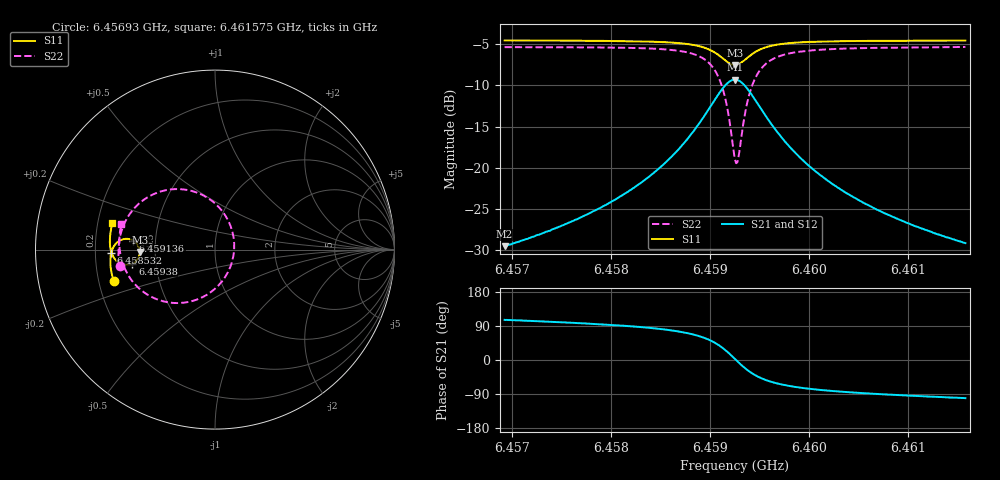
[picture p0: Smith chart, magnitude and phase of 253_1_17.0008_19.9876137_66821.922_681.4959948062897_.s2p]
#  HZ  S  RI  R  50.00
! Rohde & Schwarz Vector Network Analyzer
! Rohde-Schwarz,ZNB20-2Port,1311601062101988,3.16
! Created: UTC 3/20/2024, 11:03:21 PM
! freq[Hz]  re:S11  im:S11  re:S21  im:S21  re:S12  im:S12  re:S22  im:S22
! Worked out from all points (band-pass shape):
!   401 points, 6.45693 GHz to 6.461575 GHz, reference 50 ohm
!   highest |S21| = -9.30 dB at 6.459252 GHz (marker M1); lowest = -29.5 dB at 6.45693 GHz (marker M2)
!   |S21| within 3 dB of the highest: 6.45902 GHz to 6.459484 GHz (464.9 kHz wide, 0.0072 % of centre)
!   lowest |S11| = -7.5 dB at 6.459252 GHz (marker M3), VSWR 2.45, Z = 20.5 - j0.622 ohm
!   |S11| at or under -10 dB: nowhere
!   |S22| runs from -19.4 to -5.3 dB; largest |S21 - S12| = 0.014
!   S11 on the Smith chart (normalised r, x): 6.45693 GHz: 0.26, -0.14; 6.458532 GHz: 0.27, -0.01; 6.459136 GHz: 0.37, +0.05; 6.45938 GHz: 0.37, -0.07; 6.461575 GHz: 0.26, +0.12
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6.4569295e9  -0.5652 -0.1767  -0.00916 0.0322  -0.00738 0.0321  -0.5313 -0.0931
6.4577077e9  -0.5799 -0.109  -0.00606 0.05  -0.00356 0.0494  -0.538 -0.00243
6.4581258e9  -0.5832 -0.0673  -0.000368 0.0688  0.00281 0.0673  -0.531 0.0631
6.4584858e9  -0.5797 -0.0246  0.0134 0.0981  0.0173 0.0955  -0.506 0.1432
6.4585323e9  -0.5783 -0.0183  0.0167 0.1035  0.0208 0.1008  -0.4997 0.1565
6.4587414e9  -0.5662 0.0136  0.0426 0.1352  0.0467 0.1305  -0.4515 0.2281
6.4588923e9  -0.5452 0.04  0.0849 0.1655  0.0882 0.159  -0.3734 0.2927
6.4590433e9  -0.4993 0.0597  0.1761 0.1848  0.1773 0.1775  -0.2065 0.3371
6.4591362e9  -0.4551 0.0497  0.2657 0.1541  0.266 0.1482  -0.0406 0.2879
6.4591827e9  -0.434 0.0311  0.3092 0.1116  0.3105 0.1065  0.0419 0.2123
6.4592524e9  -0.4193 -0.0125  0.3425 0.0156  0.3462 0.00876  0.1069 0.0341
6.459264e9  -0.4197 -0.0205  0.3423 -0.00194  0.3461 -0.00955  0.1066 0.000732
6.4592872e9  -0.4231 -0.0359  0.337 -0.0365  0.3408 -0.0454  0.0958 -0.0644
6.4593337e9  -0.4386 -0.0618  0.3088 -0.0958  0.311 -0.1076  0.0392 -0.1768
6.4593801e9  -0.4603 -0.0779  0.2674 -0.1368  0.2666 -0.1498  -0.0447 -0.2513
6.4594731e9  -0.5033 -0.0847  0.1835 -0.168  0.1775 -0.1793  -0.2119 -0.2978
6.459624e9  -0.5468 -0.0644  0.0963 -0.1548  0.088 -0.1609  -0.3783 -0.2497
6.4597866e9  -0.5683 -0.0368  0.0518 -0.1273  0.0442 -0.1302  -0.4586 -0.1785
6.4600305e9  -0.581 -0.00125  0.0226 -0.0962  0.0168 -0.0969  -0.5066 -0.0968
6.4603558e9  -0.5856 0.0373  0.0072 -0.071  0.00302 -0.0707  -0.5279 -0.022
6.4608087e9  -0.5838 0.0829  -0.00128 -0.0515  -0.00405 -0.0505  -0.533 0.0504
6.4615753e9  -0.5717 0.1507  -0.00647 -0.0343  -0.00812 -0.0334  -0.5221 0.1409
